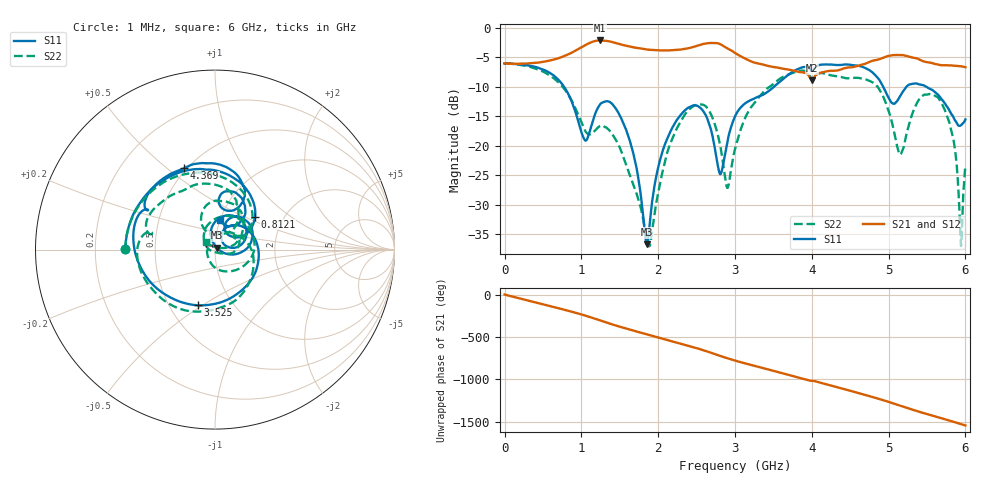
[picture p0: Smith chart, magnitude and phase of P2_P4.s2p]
! P2-P4  26-Dec-22  12:59:43
! Ref Plane: 0.000 mm
# MHZ S MA R  50
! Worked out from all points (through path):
!   10001 points, 1 MHz to 6 GHz, reference 50 ohm
!   highest |S21| = -2.11 dB at 1.243 GHz (marker M1); lowest = -8.9 dB at 4.002 GHz (marker M2)
!   group delay of S21, straight-line fit = 715 ps
!   lowest |S11| = -36.7 dB at 1.856 GHz (marker M3), VSWR 1.03, Z = 51 + j1.06 ohm
!   |S11| at or under -10 dB: 776.7 MHz to 3.505 GHz (2.729 GHz wide, 127 % of centre); 4.932 GHz to 5.23 GHz (297.8 MHz wide, 5.86 % of centre); 5.492 GHz to end of sweep
!   |S22| runs from -37.1 to -6.0 dB; largest |S21 - S12| = 0.013
!   S11 on the Smith chart (normalised r, x): 1 MHz: 0.33, +0.00; 812.1 MHz: 1.44, +0.58; 3.525 GHz: 0.69, -0.48; 4.369 GHz: 0.48, +0.57; 6 GHz: 1.00, +0.34
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1  0.5008 179.8  0.5001 -0.1  0.4997 -0.2  0.4999 179.8
411.9315  0.4655 107.2  0.5074 -95.2  0.5078 -95.2  0.4496 109.8
812.0648  0.2893 39.6  0.5912 172.7  0.5904 172.7  0.2828 42.4
1001.033  0.1298 31.8  0.6862 125.2  0.6858 125.2  0.1586 23.7
1242.793  0.2243 55.5  0.7843 54.5  0.7849 54.7  0.1471 29.9
1479.154  0.1925 6.9  0.7366 -13.6  0.7379 -13.4  0.1034 -8.7
1855.891  0.01456 45.5  0.6564 -110.2  0.6564 -110.0  0.01532 -78.8
2001.067  0.06556 107.7  0.647 -146.2  0.6453 -145.8  0.04001 170.4
2522.98  0.2162 40.0  0.7115 81.8  0.7096 82.0  0.2251 31.2
2765.939  0.07445 11.6  0.7439 9.3  0.7415 9.6  0.1319 -66.3
3000.5  0.1771 50.4  0.6156 -59.1  0.616 -58.3  0.09352 77.3
3524.813  0.3247 -107.0  0.4641 174.1  0.465 174.0  0.3455 -97.8
4000.533  0.4331 149.4  0.3609 62.3  0.3621 62.7  0.3647 164.9
4001.733  0.4328 149.4  0.3608 62.3  0.362 62.7  0.3639 165.0
4368.872  0.4849 110.8  0.4413 -22.2  0.4415 -21.9  0.3853 126.4
4706.016  0.4538 79.0  0.5005 -106.0  0.505 -105.8  0.3654 92.7
5000.567  0.2555 62.6  0.5807 173.7  0.5769 173.9  0.1986 51.2
5256.724  0.3278 80.5  0.5747 97.5  0.5709 97.7  0.1435 118.0
5554.274  0.3013 57.4  0.5068 15.6  0.4995 15.4  0.2735 73.3
5820.03  0.1843 49.6  0.4819 -54.8  0.4809 -54.9  0.1322 19.8
5938.21  0.1489 69.3  0.4743 -87.6  0.475 -87.3  0.01519 54.1
6000  0.1673 80.5  0.4646 -104.5  0.4666 -104.5  0.06774 141.7
